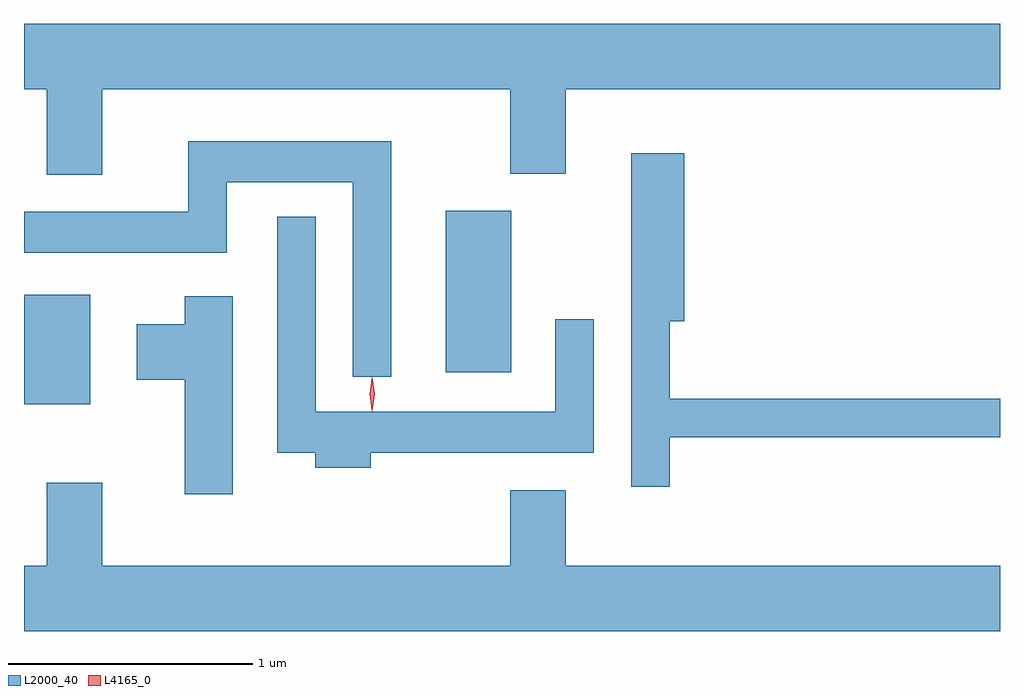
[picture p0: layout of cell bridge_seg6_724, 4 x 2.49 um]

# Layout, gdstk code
import gdstk
lib = gdstk.Library(unit=1e-6, precision=1e-09)
def R(c, l, rs):  # rectangles x0, y0, x1, y1
    for r in rs: c.add(gdstk.rectangle(r[:2], r[2:], *l))
def P(c, l, *ps):  # polygons
    for p in ps: c.add(gdstk.Polygon(p, *l))
L2000_40 = (2000, 40)
L4165_0 = (4165, 0)

bridge_seg6_724 = lib.new_cell('bridge_seg6_724')
R(bridge_seg6_724, L2000_40, [(524.698,1544.306,524.969,1544.754), (526.426,1544.436,526.694,1545.099)])
P(bridge_seg6_724, L2000_40, [(525.019,1545.596),(526.691,1545.596),(526.691,1545.251),(526.919,1545.251),(526.919,1545.596),(528.698,1545.596),(528.698,1545.864),(524.698,1545.864),(524.698,1545.596),(524.791,1545.596),(524.791,1545.246),(525.019,1545.246)],
  [(526.204,1545.384),(525.371,1545.384),(525.371,1545.094),(524.698,1545.094),(524.698,1544.926),(525.529,1544.926),(525.529,1545.216),(526.046,1545.216),(526.046,1544.418),(526.204,1544.418)],
  [(527.344,1544.171),(528.698,1544.171),(528.698,1544.329),(527.344,1544.329),(527.344,1544.646),(527.404,1544.646),(527.404,1545.334),(527.186,1545.334),(527.186,1543.968),(527.344,1543.968)],
  [(526.119,1544.106),(527.034,1544.106),(527.034,1544.653),(526.876,1544.653),(526.876,1544.274),(525.894,1544.274),(525.894,1545.073),(525.736,1545.073),(525.736,1544.106),(525.891,1544.106),(525.891,1544.046),(526.119,1544.046)],
  [(525.554,1544.749),(525.356,1544.749),(525.356,1544.634),(525.161,1544.634),(525.161,1544.406),(525.356,1544.406),(525.356,1543.936),(525.554,1543.936)],
  [(528.698,1543.644),(526.919,1543.644),(526.919,1543.954),(526.691,1543.954),(526.691,1543.644),(525.019,1543.644),(525.019,1543.984),(524.791,1543.984),(524.791,1543.644),(524.698,1543.644),(524.698,1543.376),(528.698,1543.376)])
P(bridge_seg6_724, L4165_0, [(526.125,1544.279),(526.124,1544.28),(526.115,1544.346),(526.124,1544.412),(526.125,1544.413),(526.125,1544.412),(526.135,1544.346),(526.125,1544.28)],
  [(526.125,1544.277),(526.125,1544.278),(526.115,1544.347),(526.125,1544.416),(526.125,1544.416),(526.126,1544.416),(526.135,1544.347),(526.126,1544.278)])

lib.write_gds('bridge_seg6_724.gds')
